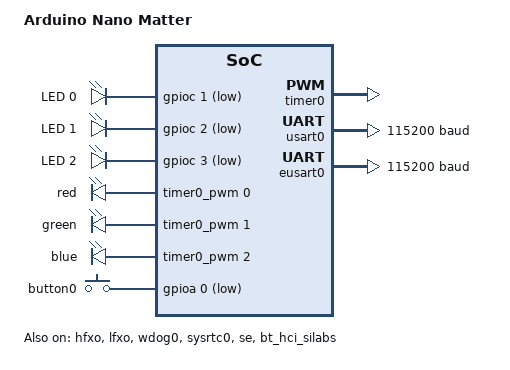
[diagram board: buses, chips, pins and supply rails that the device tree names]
/*
 * Copyright (c) 2025 Pete Johanson
 * Copyright (c) 2025 Silicon Laboratories Inc.
 *
 * SPDX-License-Identifier: Apache-2.0
 */

/dts-v1/;
#include <silabs/xg24/mgm240sd22vna.dtsi>
#include <zephyr/dt-bindings/input/input-event-codes.h>
#include <zephyr/dt-bindings/pwm/pwm.h>
#include "arduino_nano_matter-pinctrl.dtsi"
#include "arduino_nano_matter_connector.dtsi"

/ {
	model = "Arduino Nano Matter";
	compatible = "arduino,arduino_nano_matter", "silabs,mgm240sd22vna";

	chosen {
		zephyr,bt-hci = &bt_hci_silabs;
		zephyr,code-partition = &slot0_partition;
		zephyr,console = &usart0;
		zephyr,flash = &flash0;
		zephyr,shell-uart = &usart0;
		zephyr,sram = &sram0;
		zephyr,uart-pipe = &usart0;
	};

	/* These aliases are provided for compatibility with samples */
	aliases {
		led0 = &led0;
		led1 = &led1;
		led2 = &led2;
		pwm-led0 = &red_pwm_led;
		pwm-led1 = &green_pwm_led;
		pwm-led2 = &blue_pwm_led;
		sw0 = &button0;
		watchdog0 = &wdog0;
	};

	leds {
		compatible = "gpio-leds";

		led0: led_0 {
			gpios = <&gpioc 1 GPIO_ACTIVE_LOW>;
			label = "LED 0";
		};

		led1: led_1 {
			gpios = <&gpioc 2 GPIO_ACTIVE_LOW>;
			label = "LED 1";
		};

		led2: led_2 {
			gpios = <&gpioc 3 GPIO_ACTIVE_LOW>;
			label = "LED 2";
		};
	};

	pwmleds {
		compatible = "pwm-leds";

		red_pwm_led: pwm_led_0 {
			pwms = <&timer0_pwm 0 PWM_MSEC(20) PWM_POLARITY_INVERTED>;
			label = "red";
		};

		green_pwm_led: pwm_led_1 {
			pwms = <&timer0_pwm 1 PWM_MSEC(20) PWM_POLARITY_INVERTED>;
			label = "green";
		};

		blue_pwm_led: pwm_led_2 {
			pwms = <&timer0_pwm 2 PWM_MSEC(20) PWM_POLARITY_INVERTED>;
			label = "blue";
		};
	};

	buttons {
		compatible = "gpio-keys";

		button0: button_0 {
			gpios = <&gpioa 0 GPIO_ACTIVE_LOW>;
			zephyr,code = <INPUT_KEY_0>;
		};
	};
};

&timer0 {
	status = "okay";

	timer0_pwm: pwm {
		pinctrl-0 = <&timer0_default>;
		pinctrl-names = "default";
		status = "okay";
	};
};

&cpu0 {
	clock-frequency = <78000000>;
};

&hfxo {
	ctune = <95>;
	precision = <50>;
	status = "okay";
};

&lfxo {
	ctune = <44>;
	precision = <50>;
	status = "okay";
};

&hfrcodpll {
	clock-frequency = <DT_FREQ_M(78)>;
	clocks = <&hfxo>;
	dpll-autorecover;
	dpll-edge = "fall";
	dpll-lock = "phase";
	dpll-m = <1919>;
	dpll-n = <3839>;
};

&em23grpaclk {
	clocks = <&lfxo>;
};

&em4grpaclk {
	clocks = <&lfxo>;
};

&sysrtcclk {
	clocks = <&lfxo>;
};

&wdog0clk {
	clocks = <&lfxo>;
};

&wdog1clk {
	clocks = <&lfxo>;
};

&usart0 {
	current-speed = <115200>;
	pinctrl-0 = <&usart0_default>;
	pinctrl-names = "default";
	status = "okay";
};

&eusart0 {
	compatible = "silabs,eusart-uart";
	current-speed = <115200>;
	pinctrl-0 = <&eusart0_default>;
	pinctrl-names = "default";
};

&eusart1 {
	compatible = "silabs,eusart-spi";
	#address-cells = <1>;
	#size-cells = <0>;
	clock-frequency = <4000000>;
	cs-gpios = <&gpioc 7 GPIO_ACTIVE_LOW>;
	pinctrl-0 = <&eusart1_default>;
	pinctrl-names = "default";
};

&i2c0 {
	pinctrl-0 = <&i2c0_default>;
	pinctrl-names = "default";
};

&gpio {
	status = "okay";
};

&gpioa {
	status = "okay";
};

&gpiob {
	status = "okay";
};

&gpioc {
	status = "okay";
};

&gpiod {
	status = "okay";
};

&wdog0 {
	status = "okay";
};

&sysrtc0 {
	status = "okay";
};

&se {
	status = "okay";
};

&flash0 {
	partitions {
		compatible = "fixed-partitions";
		#address-cells = <1>;
		#size-cells = <1>;

		/* Reserve 48 kB for the bootloader */
		boot_partition: partition@0 {
			reg = <0x0 DT_SIZE_K(48)>;
			label = "mcuboot";
			read-only;
		};

		/* Reserve 736 kB for the application in slot 0 */
		slot0_partition: partition@c000 {
			reg = <0x0000c000 0x000B8000>;
			label = "image-0";
		};

		/* Reserve 736 kB for the application in slot 1 */
		slot1_partition: partition@C4000 {
			reg = <0x000C4000 0x000B8000>;
			label = "image-1";
		};

		/* Set 16 kB of storage at the end of the 1536 kB of flash */
		storage_partition: partition@17c000 {
			reg = <0x0017c000 DT_SIZE_K(16)>;
			label = "storage";
		};
	};
};

&bt_hci_silabs {
	status = "okay";
};
